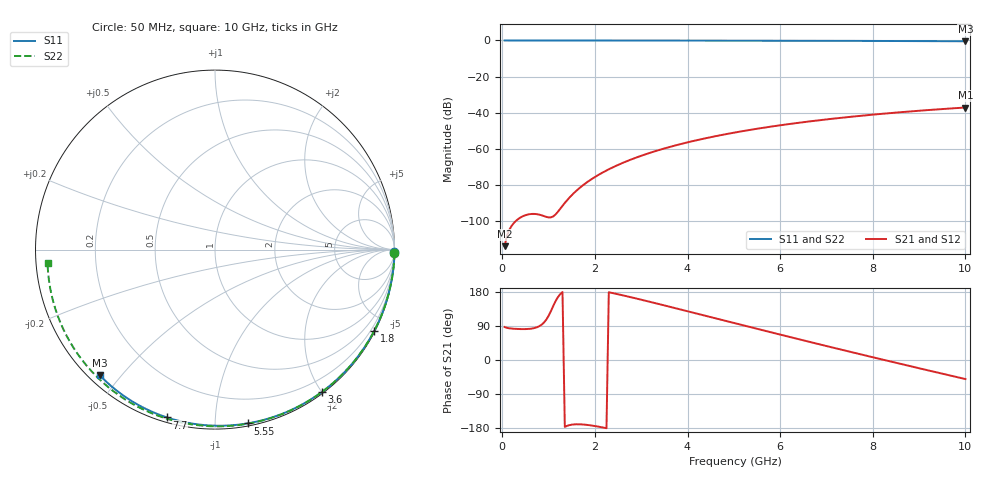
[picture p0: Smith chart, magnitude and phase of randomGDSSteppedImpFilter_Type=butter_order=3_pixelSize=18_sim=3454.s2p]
! freq	dB(S11)	phase(S11)	dB(S12)	phase(S12)
!  dB(S21)	phase(S21)	dB(S22)	phase(S22)
!S-par simulation data
#  GHz  S  DB  R 50
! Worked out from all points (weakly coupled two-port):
!   200 points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, 50 MHz to 10 GHz, reference 50 ohm
!   highest |S21| = -37.09 dB at 10 GHz (marker M1); lowest = -113.8 dB at 50 MHz (marker M2)
!   lowest |S11| = -0.4 dB at 10 GHz (marker M3), VSWR 38.89, Z = 1.53 - j21.9 ohm
!   |S11| at or under -10 dB: nowhere
!   |S22| runs from -0.6 to 0.0 dB; largest |S21 - S12| = 0
!   S11 on the Smith chart (normalised r, x): 50 MHz: open; 1.8 GHz: 0.04, -4.13; 3.6 GHz: 0.02, -2.00; 5.55 GHz: 0.02, -1.20; 7.7 GHz: 0.02, -0.75; 10 GHz: 0.03, -0.44
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0.05  -0.00 -0.8  -113.79 87.0  -113.79 87.0  -0.00 -1.0
0.45  -0.01 -6.9  -97.16 81.5  -97.16 81.5  -0.01 -9.1
0.85  -0.02 -13.0  -96.71 93.3  -96.71 93.3  -0.02 -17.1
1.3  -0.02 -19.8  -91.47 179.4  -91.47 179.4  -0.03 -26.0
1.75  -0.03 -26.5  -79.93 -170.3  -79.93 -170.3  -0.04 -34.8
1.8  -0.03 -27.2  -78.97 -170.8  -78.97 -170.8  -0.05 -35.8
1.95  -0.04 -29.4  -76.34 -173.2  -76.34 -173.2  -0.05 -38.7
2.1  -0.04 -31.6  -74.01 -176.4  -74.01 -176.4  -0.05 -41.6
2.3  -0.04 -34.6  -71.26 178.8  -71.26 178.8  -0.06 -45.4
2.5  -0.05 -37.5  -68.84 173.5  -68.84 173.5  -0.06 -49.2
2.9  -0.06 -43.3  -64.70 162.1  -64.70 162.1  -0.07 -56.7
3.4  -0.07 -50.4  -60.48 147.1  -60.48 147.1  -0.09 -65.9
3.6  -0.07 -53.2  -59.01 141.0  -59.01 141.0  -0.09 -69.5
4.3  -0.09 -62.8  -54.59 119.4  -54.59 119.4  -0.12 -81.9
5.05  -0.11 -72.9  -50.78 96.2  -50.78 96.2  -0.15 -94.8
5.55  -0.13 -79.4  -48.64 80.8  -48.64 80.8  -0.17 -103.1
6.1  -0.15 -86.4  -46.56 64.0  -46.56 64.0  -0.20 -112.2
6.7  -0.18 -93.9  -44.57 45.8  -44.57 45.8  -0.24 -121.9
7.7  -0.24 -106.0  -41.77 16.1  -41.77 16.1  -0.32 -137.9
8.35  -0.29 -113.7  -40.23 -3.0  -40.23 -3.0  -0.38 -148.3
9.2  -0.36 -123.5  -38.49 -27.5  -38.49 -27.5  -0.47 -162.1
10  -0.45 -132.6  -37.09 -50.3  -37.09 -50.3  -0.58 -175.6
